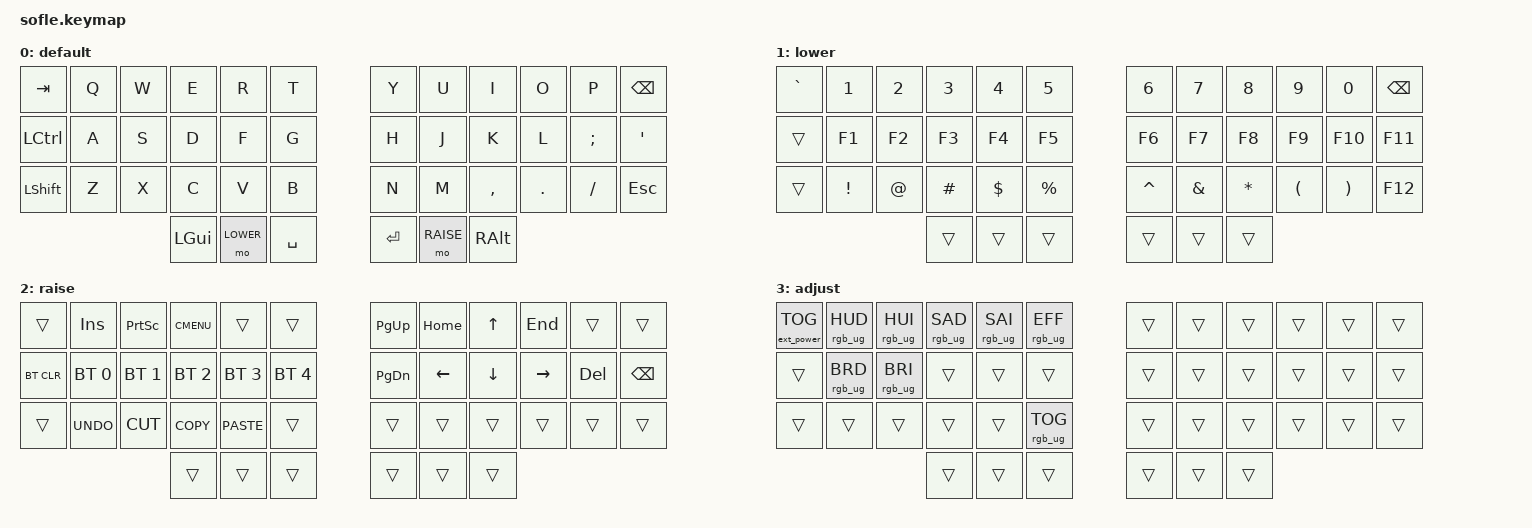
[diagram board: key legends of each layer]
/*
 * Copyright (c) 2020 The ZMK Contributors
 *
 * SPDX-License-Identifier: MIT
 */

#include <behaviors.dtsi>
#include <dt-bindings/zmk/keys.h>
#include <dt-bindings/zmk/bt.h>
#include <dt-bindings/zmk/rgb.h>
#include <dt-bindings/zmk/ext_power.h>

#define BASE 0
#define LOWER 1
#define RAISE 2
#define ADJUST 3

/ {

   // Activate ADJUST layer by pressing raise and lower
    conditional_layers {
        compatible = "zmk,conditional-layers";
        adjust_layer {
            if-layers = <LOWER RAISE>;
            then-layer = <ADJUST>;
        };
    };

    keymap {
        compatible = "zmk,keymap";

        default_layer {
            display-name = "default";
// -----------------------------------------------------------------------------------------
// |  TAB |  Q  |  W  |  E  |  R  |  T  |   |  Y  |  U   |  I  |  O  |  P  | BKSP |
// | CTRL |  A  |  S  |  D  |  F  |  G  |   |  H  |  J   |  K  |  L  |  ;  |  '   |
// | SHFT |  Z  |  X  |  C  |  V  |  B  |   |  N  |  M   |  ,  |  .  |  /  | ESC  |
//                    | GUI | LWR | SPC |   | ENT | RSE  | ALT |
            bindings = <
&kp TAB    &kp Q  &kp W  &kp E     &kp R  &kp T        &kp Y    &kp U  &kp I      &kp O    &kp P     &kp BSPC
&kp LCTRL  &kp A  &kp S  &kp D     &kp F  &kp G        &kp H    &kp J  &kp K      &kp L    &kp SEMI  &kp SQT
&kp LSHFT  &kp Z  &kp X  &kp C     &kp V  &kp B        &kp N    &kp M  &kp COMMA  &kp DOT  &kp FSLH  &kp ESC
                         &kp LGUI  &mo LOWER  &kp SPACE    &kp RET  &mo RAISE  &kp RALT
            >;
        };

        lower_layer {
            display-name = "lower";
// -----------------------------------------------------------------------------------------
// |  `   |  1  |  2  |  3  |  4  |  5  |   |  6  |  7  |  8  |  9  |  0  | BKSP |
// |      |  F1 |  F2 |  F3 |  F4 |  F5 |   | F6  | F7  | F8  | F9  | F10 | F11  |
// |      |  !  |  @  |  #  |  $  |  %  |   |  ^  |  &  |  *  |  (  |  )  | F12  |
//                    |     |     |     |   |     |     |      |
            bindings = <
&kp GRAVE  &kp N1    &kp N2    &kp N3    &kp N4    &kp N5        &kp N6    &kp N7    &kp N8    &kp N9    &kp N0    &kp BSPC
&trans     &kp F1    &kp F2    &kp F3    &kp F4    &kp F5        &kp F6    &kp F7    &kp F8    &kp F9    &kp F10   &kp F11
&trans     &kp EXCL  &kp AT    &kp HASH  &kp DLLR  &kp PRCNT     &kp CARET &kp AMPS  &kp ASTRK &kp LPAR  &kp RPAR  &kp F12
                         &trans    &trans     &trans        &trans    &trans     &trans
            >;
        };

        raise_layer {
            display-name = "raise";
// -----------------------------------------------------------------------------------------
// |      | INS | PSCR| APP |     |     |   | PGUP| HOME|  UP | END |     |      |
// | BTCLR| BT1 | BT2 | BT3 | BT4 | BT5 |   | PGDN| LEFT| DOWN| RIGHT| DEL | BKSP |
// |      | UNDO| CUT | COPY| PASTE|    |   |     |     |     |     |     |      |
//                    |     |     |     |   |     |     |      |
            bindings = <
&trans     &kp INS   &kp PSCRN &kp K_CMENU &trans    &trans        &kp PG_UP &kp HOME &kp UP   &kp END   &trans    &trans
&bt BT_CLR &bt BT_SEL 0 &bt BT_SEL 1 &bt BT_SEL 2 &bt BT_SEL 3 &bt BT_SEL 4 &kp PG_DN &kp LEFT &kp DOWN &kp RIGHT &kp DEL &kp BSPC
&trans     &kp K_UNDO &kp K_CUT &kp K_COPY &kp K_PASTE &trans      &trans    &trans   &trans   &trans    &trans    &trans
                         &trans    &trans     &trans        &trans    &trans     &trans
            >;
        };

        adjust_layer {
            display-name = "adjust";
// -----------------------------------------------------------------------------------------
// | EXTPWR|RGB_HUD|RGB_HUI|RGB_SAD|RGB_SAI|RGB_EFF|   |     |     |     |     |     |      |
// |       |RGB_BRD|RGB_BRI|       |       |       |   |     |     |     |     |     |      |
// |       |       |       |       |       |RGB_TOG|   |     |     |     |     |     |      |
//                    |     |     |     |   |     |     |      |
            bindings = <
&ext_power EP_TOG &rgb_ug RGB_HUD &rgb_ug RGB_HUI &rgb_ug RGB_SAD &rgb_ug RGB_SAI &rgb_ug RGB_EFF &trans &trans &trans &trans &trans &trans
&trans            &rgb_ug RGB_BRD &rgb_ug RGB_BRI &trans          &trans          &trans          &trans &trans &trans &trans &trans &trans
&trans            &trans          &trans          &trans          &trans          &rgb_ug RGB_TOG &trans &trans &trans &trans &trans &trans
                                        &trans    &trans          &trans          &trans          &trans &trans
            >;
        };
    };
};
